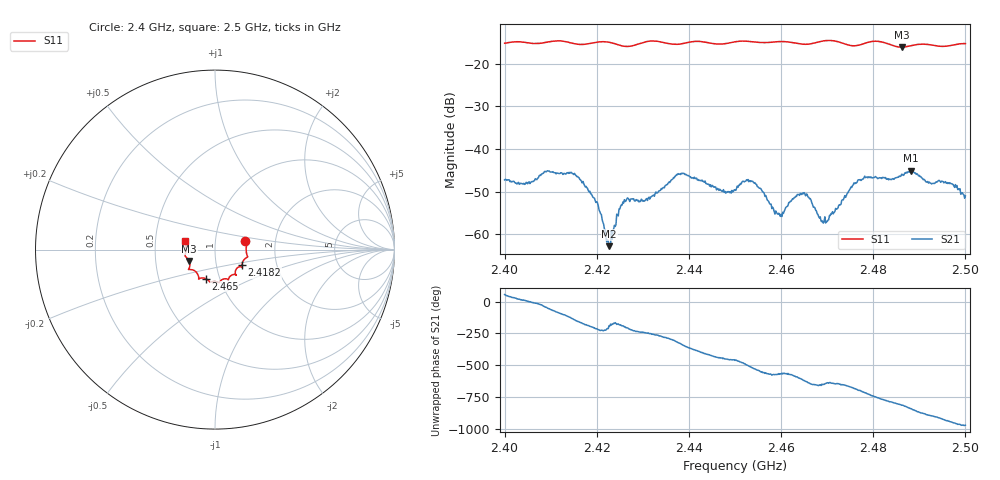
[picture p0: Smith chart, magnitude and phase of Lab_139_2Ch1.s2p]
# Hz S RI R 50
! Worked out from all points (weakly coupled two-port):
!   601 points, 2.4 GHz to 2.5 GHz, reference 50 ohm
!   highest |S21| = -45.09 dB at 2.4882 GHz (marker M1); lowest = -62.8 dB at 2.4227 GHz (marker M2)
!   lowest |S11| = -16.1 dB at 2.4862 GHz (marker M3), VSWR 1.37, Z = 37.2 - j4.83 ohm
!   |S11| at or under -10 dB: start of sweep to end of sweep
!   S12 and S22 are empty: the file has one direction only
!   S11 on the Smith chart (normalised r, x): 2.4 GHz: 1.40, +0.14; 2.4182 GHz: 1.33, -0.23; 2.465 GHz: 0.86, -0.28; 2.5 GHz: 0.71, +0.07
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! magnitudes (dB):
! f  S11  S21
! 2.4 GHz  -15.2  -47.3
! 2.4045 GHz  -15.0  -48.2
! 2.4092 GHz  -14.9  -45.2
! 2.4167 GHz  -15.4  -47.5
! 2.4182 GHz  -15.3  -49.8
! 2.4205 GHz  -14.8  -54.3
! 2.4227 GHz  -14.9  -62.8
! 2.4262 GHz  -15.9  -52.3
! 2.4333 GHz  -14.7  -50.1
! 2.4385 GHz  -15.3  -45.8
! 2.45 GHz  -14.8  -49.6
! 2.454 GHz  -14.8  -47.8
! 2.4597 GHz  -14.8  -55.4
! 2.465 GHz  -15.4  -50.2
! 2.4667 GHz  -15.2  -52.6
! 2.4697 GHz  -14.5  -57.4
! 2.4763 GHz  -15.7  -48.0
! 2.4833 GHz  -15.3  -47.2
! 2.4862 GHz  -16.1  -45.9
! 2.4882 GHz  -15.7  -45.1
! 2.4968 GHz  -15.7  -48.1
! 2.5 GHz  -15.2  -51.0
